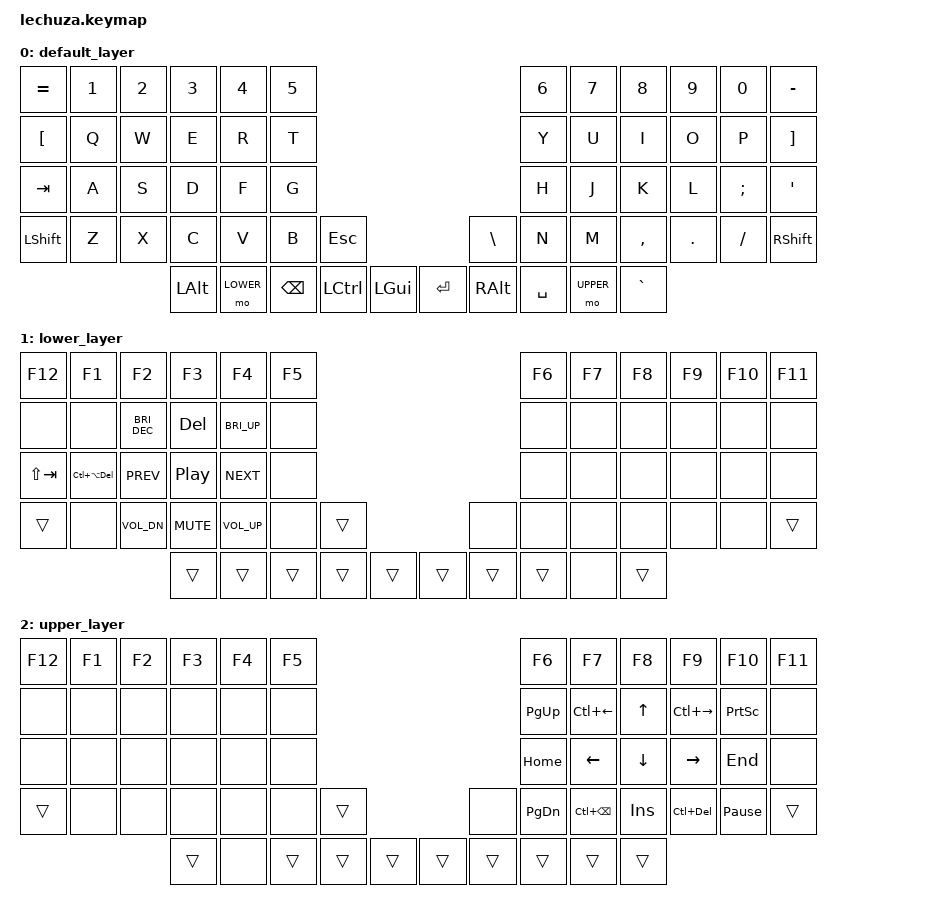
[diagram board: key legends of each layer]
/*
 * Lechuza board configuration
 *
 * Copyright (c) 2022 elagil
 * SPDX-License-Identifier: MIT
 */

#include <behaviors.dtsi>
#include <dt-bindings/zmk/keys.h>
#include <dt-bindings/zmk/outputs.h>

#define LOWER 1
#define UPPER 2

/ {
    keymap {
        compatible = "zmk,keymap";

        default_layer {
// ,-----------------------------------,                          ,-----------------------------------,
// |  =  |  1  |  2  |  3  |  4  |  5  |                          |  6  |  7  |  8  |  9  |  0  |  -  |
// |  [  |  Q  |  W  |  E  |  R  |  T  |                          |  Y  |  U  |  I  |  O  |  P  |  ]  |
// | TAB |  A  |  S  |  D  |  F  |  G  |-----,              ,-----|  H  |  J  |  K  |  L  |  ;  |  '  |
// | SFT |  Z  |  X  |  C  |  V  |  B  | ESC |-----,  ,-----|  \  |  N  |  M  |  ,  |  .  |  /  | SFT |
// '-----------------| ALT |LOWER| BSP | CTL | GUI |  | RET |RALT | SPC |UPPER|  `  |-----------------'
//                   '-----------------------------'  '-----------------------------'
            bindings = <
&kp EQUAL   &kp N1      &kp N2      &kp N3      &kp N4      &kp N5                                                      &kp N6      &kp N7      &kp N8      &kp N9      &kp N0      &kp MINUS
&kp LBKT    &kp Q       &kp W       &kp E       &kp R       &kp T                                                       &kp Y       &kp U       &kp I       &kp O       &kp P       &kp RBKT
&kp TAB     &kp A       &kp S       &kp D       &kp F       &kp G                                                       &kp H       &kp J       &kp K       &kp L       &kp SEMI    &kp SQT
&kp LSHFT   &kp Z       &kp X       &kp C       &kp V       &kp B       &kp ESC                             &kp BSLH    &kp N       &kp M       &kp COMMA   &kp DOT     &kp FSLH    &kp RSHFT
                                    &kp LALT    &mo LOWER   &kp BSPC    &kp LCTL    &kp LGUI    &kp RET     &kp RALT    &kp SPC     &mo UPPER   &kp GRAVE
            >;
        };

        lower_layer {
// ,-----------------------------------,                          ,-----------------------------------,
// | F12 |  F1 |  F2 |  F3 |  F4 |  F5 |                          |  F6 |  F7 |  F8 |  F9 | F10 | F11 |
// |     |     | BRID| DEL | BRIU|     |                          |     |     |     |     |     |     |
// |STAB | CAD | PREV| PLAY| NEXT|     |-----,              ,-----|     |     |     |     |     |     |
// |  T  |     | VOLD| MUTE| VOLU|     |  T  |-----,  ,-----|     |     |     |     |     |     |  T  |
// '-----------------|  T  |  T  |  T  |  T  |  T  |  |  T  |  T  |  T  |     |  T  |-----------------'
//                   '-----------------------------'  '-----------------------------'
            bindings = <
&kp F12     &kp F1      &kp F2      &kp F3      &kp F4      &kp F5                                                      &kp F6      &kp F7      &kp F8      &kp F9      &kp F10     &kp F11
&none       &none       &kp C_BRI_DEC &kp DEL   &kp C_BRI_UP &none                                                      &none       &none       &none       &none       &none       &none
&kp LS(TAB) &kp LC(LA(DEL)) &kp C_PREV &kp C_PP &kp C_NEXT  &none                                                       &none       &none       &none       &none       &none       &none
&trans      &none       &kp C_VOL_DN &kp C_MUTE &kp C_VOL_UP &none      &trans                              &none       &none       &none       &none       &none       &none       &trans
                                    &trans      &trans      &trans      &trans      &trans      &trans      &trans      &trans      &none       &trans
            >;
        };

        upper_layer {
// ,-----------------------------------,                          ,-----------------------------------,
// | F12 |  F1 |  F2 |  F3 |  F4 |  F5 |                          |  F6 |  F7 |  F8 |  F9 | F10 | F11 |
// |     |     |     |     |     |     |                          | PGUP| PREV|  UP | NEXT| PRT |     |
// |     |     |     |     |     |     |-----,              ,-----| HOME| LEFT| DOWN|RIGHT| END |     |
// |  T  |     |     |     |     |     |     |-----,  ,-----|     | PGDN| DELP| INS | DELN|PAUSE|  T  |
// '-----------------|  T  |     |  T  |  T  |  T  |  |  T  |  T  |  T  |  T  |  T  |-----------------'
//                   '-----------------------------'  '-----------------------------'
            bindings = <
&kp F12     &kp F1      &kp F2      &kp F3      &kp F4      &kp F5                                                      &kp F6      &kp F7      &kp F8      &kp F9      &kp F10     &kp F11
&none       &none       &none       &none       &none       &none                                                       &kp PG_UP   &kp LC(LEFT) &kp UP     &kp LC(RIGHT) &kp PSCRN &none
&none       &none       &none       &none       &none       &none                                                       &kp HOME    &kp LEFT    &kp DOWN    &kp RIGHT   &kp END     &none
&trans      &none       &none       &none       &none       &none       &trans                              &none       &kp PG_DN   &kp LC(BSPC) &kp INS    &kp LC(DEL) &kp PAUSE_BREAK &trans
                                    &trans      &none       &trans      &trans      &trans      &trans      &trans      &trans      &trans      &trans
            >;
        };
    };
};
